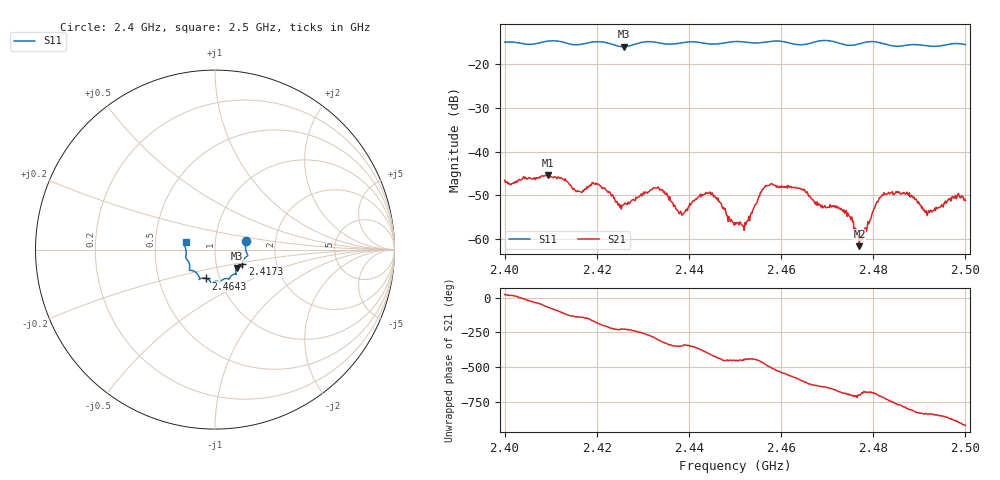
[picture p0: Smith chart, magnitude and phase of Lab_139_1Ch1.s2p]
# Hz S RI R 50
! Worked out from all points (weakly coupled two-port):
!   601 points, 2.4 GHz to 2.5 GHz, reference 50 ohm
!   highest |S21| = -45.42 dB at 2.4093 GHz (marker M1); lowest = -61.7 dB at 2.477 GHz (marker M2)
!   lowest |S11| = -15.9 dB at 2.4258 GHz (marker M3), VSWR 1.38, Z = 62.3 - j13.2 ohm
!   |S11| at or under -10 dB: start of sweep to end of sweep
!   S12 and S22 are empty: the file has one direction only
!   S11 on the Smith chart (normalised r, x): 2.4 GHz: 1.41, +0.14; 2.4173 GHz: 1.34, -0.23; 2.4643 GHz: 0.86, -0.28; 2.5 GHz: 0.72, +0.06
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2.4e9  0.1732 0.0495  0.00429 0.00187  0 0  0 0
2.409333e9  0.1826 -0.0301  0.00213 -0.00492  0 0  0 0
2.416667e9  0.1529 -0.0749  -0.00263 -0.00219  0 0  0 0
2.417333e9  0.1521 -0.0823  -0.0031 -0.00201  0 0  0 0
2.420333e9  0.1546 -0.097  -0.00424 0.000384  0 0  0 0
2.425833e9  0.1216 -0.1034  -0.00169 0.00176  0 0  0 0
2.433333e9  0.1127 -0.1368  0.00219 0.00326  0 0  0 0
2.438333e9  0.0819 -0.1561  0.00195 0.00041  0 0  0 0
2.444667e9  0.0582 -0.1613  0.0022 -0.00251  0 0  0 0
2.45e9  0.0296 -0.1807  -9.36e-05 -0.00153  0 0  0 0
2.452333e9  0.0215 -0.1789  0.00022 -0.00143  0 0  0 0
2.456833e9  -0.0125 -0.1805  -0.00237 -0.00327  0 0  0 0
2.464333e9  -0.0502 -0.1605  -0.00199 0.00317  0 0  0 0
2.466667e9  -0.0763 -0.1598  -7.88e-05 0.00287  0 0  0 0
2.473667e9  -0.0951 -0.1396  0.0019 0.00101  0 0  0 0
2.477e9  -0.1269 -0.1167  0.000779 0.000264  0 0  0 0
2.481e9  -0.1425 -0.1093  0.00252 0.000828  0 0  0 0
2.483333e9  -0.1409 -0.0894  0.00315 -0.00129  0 0  0 0
2.487833e9  -0.1597 -0.0519  8.53e-05 -0.00336  0 0  0 0
2.491667e9  -0.1611 -0.0286  -0.000942 -0.00158  0 0  0 0
2.498e9  -0.1708 0.0316  -0.00282 -0.000629  0 0  0 0
2.5e9  -0.1637 0.0421  -0.00253 0.00107  0 0  0 0
